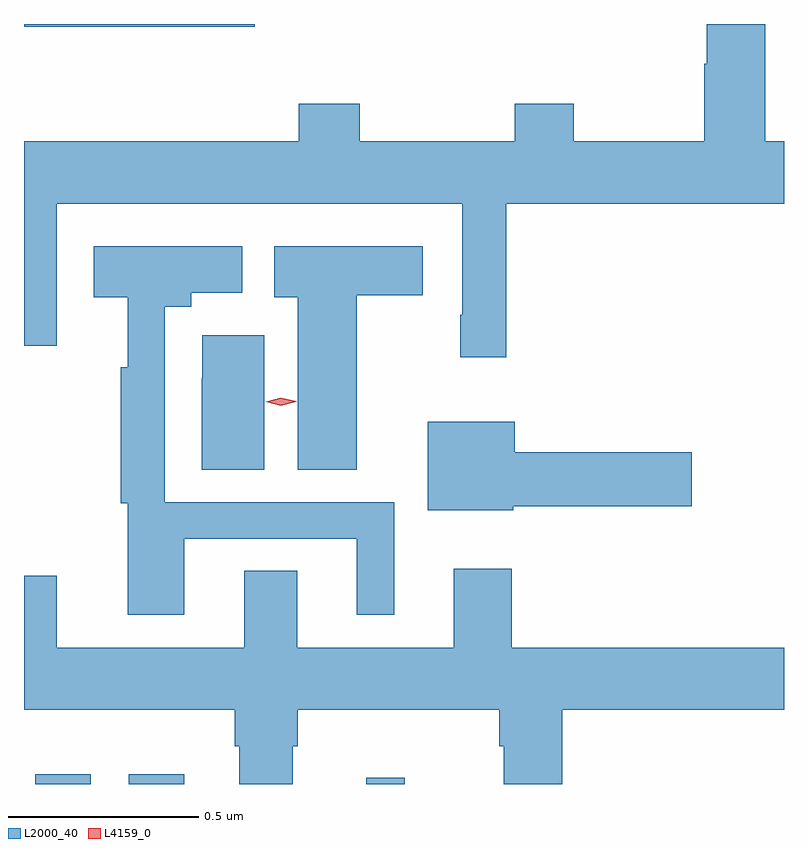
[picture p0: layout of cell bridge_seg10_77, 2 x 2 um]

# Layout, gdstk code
import gdstk
lib = gdstk.Library(unit=1e-6, precision=1e-09)
def R(c, l, rs):  # rectangles x0, y0, x1, y1
    for r in rs: c.add(gdstk.rectangle(r[:2], r[2:], *l))
def P(c, l, *ps):  # polygons
    for p in ps: c.add(gdstk.Polygon(p, *l))
L2000_40 = (2000, 40)
L4159_0 = (4159, 0)

bridge_seg10_77 = lib.new_cell('bridge_seg10_77')
R(bridge_seg10_77, L2000_40, [(680.6,1290.797,680.746,1290.823), (680.846,1290.797,680.992,1290.823), (681.47,1290.797,681.572,1290.814), (680.57,1292.79,681.177,1292.797)])
P(bridge_seg10_77, L2000_40, [(681.839,1292.324),(682.57,1292.324),(682.57,1292.488),(682.52,1292.488),(682.52,1292.797),(682.367,1292.797),(682.367,1292.693),(682.36,1292.693),(682.36,1292.488),(682.017,1292.488),(682.017,1292.587),(681.862,1292.587),(681.862,1292.488),(681.453,1292.488),(681.453,1292.587),(681.293,1292.587),(681.293,1292.488),(680.57,1292.488),(680.57,1291.95),(680.656,1291.95),(680.656,1292.324),(681.723,1292.324),(681.723,1292.032),(681.718,1292.032),(681.718,1291.92),(681.839,1291.92)],
  [(680.992,1291.443),(681.446,1291.443),(681.446,1291.242),(681.544,1291.242),(681.544,1291.539),(680.94,1291.539),(680.94,1292.053),(681.01,1292.053),(681.01,1292.09),(681.144,1292.09),(681.144,1292.212),(680.754,1292.212),(680.754,1292.078),(680.843,1292.078),(680.843,1291.894),(680.824,1291.894),(680.824,1291.536),(680.843,1291.536),(680.843,1291.242),(680.992,1291.242)],
  [(681.445,1292.083),(681.619,1292.083),(681.619,1292.212),(681.229,1292.212),(681.229,1292.078),(681.29,1292.078),(681.29,1291.624),(681.445,1291.624)],
  [(681.202,1291.978),(681.039,1291.978),(681.039,1291.865),(681.038,1291.865),(681.038,1291.624),(681.202,1291.624)],
  [(681.858,1291.528),(682.327,1291.528),(682.327,1291.67),(681.862,1291.67),(681.862,1291.75),(681.632,1291.75),(681.632,1291.517),(681.858,1291.517)],
  [(681.277,1290.896),(681.29,1290.896),(681.29,1290.992),(681.821,1290.992),(681.821,1290.896),(681.833,1290.896),(681.833,1290.797),(681.986,1290.797),(681.986,1290.992),(682.57,1290.992),(682.57,1291.156),(681.854,1291.156),(681.854,1291.363),(681.701,1291.363),(681.701,1291.156),(681.289,1291.156),(681.289,1291.358),(681.149,1291.358),(681.149,1291.156),(680.656,1291.156),(680.656,1291.345),(680.57,1291.345),(680.57,1290.992),(681.125,1290.992),(681.125,1290.896),(681.137,1290.896),(681.137,1290.797),(681.277,1290.797)])
P(bridge_seg10_77, L4159_0, [(681.246,1291.793),(681.206,1291.803),(681.205,1291.803),(681.206,1291.803),(681.246,1291.813),(681.286,1291.804),(681.286,1291.803),(681.286,1291.803)])

lib.write_gds('bridge_seg10_77.gds')
